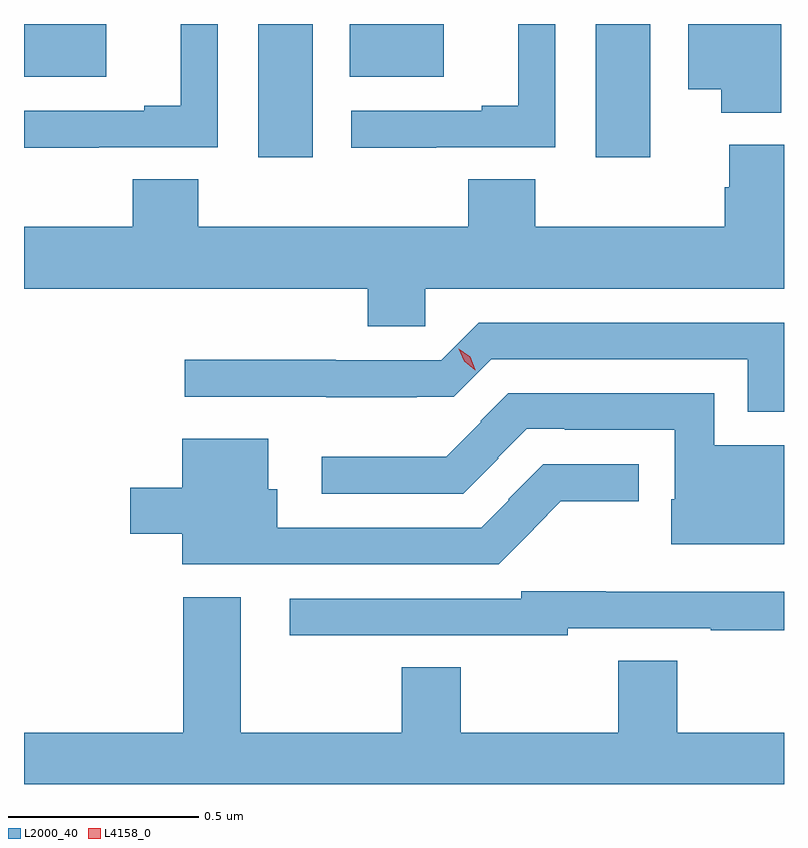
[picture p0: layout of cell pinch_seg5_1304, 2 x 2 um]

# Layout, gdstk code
import gdstk
lib = gdstk.Library(unit=1e-6, precision=1e-09)
def R(c, l, rs):  # rectangles x0, y0, x1, y1
    for r in rs: c.add(gdstk.rectangle(r[:2], r[2:], *l))
def P(c, l, *ps):  # polygons
    for p in ps: c.add(gdstk.Polygon(p, *l))
L2000_40 = (2000, 40)
L4158_0 = (4158, 0)

pinch_seg5_1304 = lib.new_cell('pinch_seg5_1304')
R(pinch_seg5_1304, L2000_40, [(484.355,859.77,484.498,860.121), (485.243,859.77,485.386,860.121), (483.738,859.982,483.955,860.121), (484.595,859.982,484.843,860.121)])
P(pinch_seg5_1304, L2000_40, [(485.731,860.121),(485.486,860.121),(485.486,859.949),(485.573,859.949),(485.573,859.888),(485.731,859.888)],
  [(484.823,859.797),(485.136,859.797),(485.136,860.121),(485.039,860.121),(485.039,859.906),(484.943,859.906),(484.943,859.893),(484.599,859.893),(484.599,859.796),(484.823,859.796)],
  [(483.935,859.797),(484.248,859.797),(484.248,860.121),(484.151,860.121),(484.151,859.906),(484.055,859.906),(484.055,859.893),(483.738,859.893),(483.738,859.796),(483.935,859.796)],
  [(484.794,859.424),(485.738,859.424),(485.738,859.803),(485.594,859.803),(485.594,859.691),(485.582,859.691),(485.582,859.588),(485.084,859.588),(485.084,859.712),(484.907,859.712),(484.907,859.588),(484.196,859.588),(484.196,859.712),(484.024,859.712),(484.024,859.588),(483.738,859.588),(483.738,859.424),(484.643,859.424),(484.643,859.326),(484.794,859.326)],
  [(485.738,859.335),(484.935,859.335),(484.836,859.236),(484.559,859.236),(484.559,859.238),(484.161,859.238),(484.161,859.14),(484.533,859.14),(484.533,859.139),(484.772,859.139),(484.772,859.14),(484.869,859.14),(484.968,859.239),(485.642,859.239),(485.642,859.101),(485.738,859.101)],
  [(485.738,859.012),(485.554,859.012),(485.554,859.149),(485.012,859.149),(484.939,859.076),(484.941,859.074),(484.849,858.982),(484.521,858.982),(484.521,858.885),(484.894,858.885),(484.987,858.978),(484.985,858.98),(485.061,859.056),(485.161,859.056),(485.161,859.053),(485.45,859.053),(485.45,858.87),(485.441,858.87),(485.441,858.752),(485.738,858.752)],
  [(485.08,858.792),(485.079,858.793),(485.15,858.865),(485.356,858.865),(485.356,858.963),(485.105,858.963),(485.012,858.87),(485.014,858.868),(484.941,858.795),(484.405,858.795),(484.405,858.897),(484.381,858.897),(484.381,859.03),(484.154,859.03),(484.154,858.901),(484.017,858.901),(484.017,858.779),(484.154,858.779),(484.154,858.699),(484.987,858.699)],
  [(485.169,858.531),(485.545,858.531),(485.545,858.526),(485.738,858.526),(485.738,858.627),(485.269,858.627),(485.269,858.628),(485.046,858.628),(485.046,858.609),(484.437,858.609),(484.437,858.513),(485.169,858.513)],
  [(485.738,858.256),(485.457,858.256),(485.457,858.446),(485.302,858.446),(485.302,858.256),(484.887,858.256),(484.887,858.428),(484.732,858.428),(484.732,858.256),(484.309,858.256),(484.309,858.613),(484.157,858.613),(484.157,858.256),(483.738,858.256),(483.738,858.121),(485.738,858.121)])
P(pinch_seg5_1304, L4158_0, [(484.926,859.21),(484.896,859.233),(484.882,859.267),(484.882,859.267),(484.882,859.267),(484.912,859.245),(484.926,859.211),(484.926,859.21)])

lib.write_gds('pinch_seg5_1304.gds')
